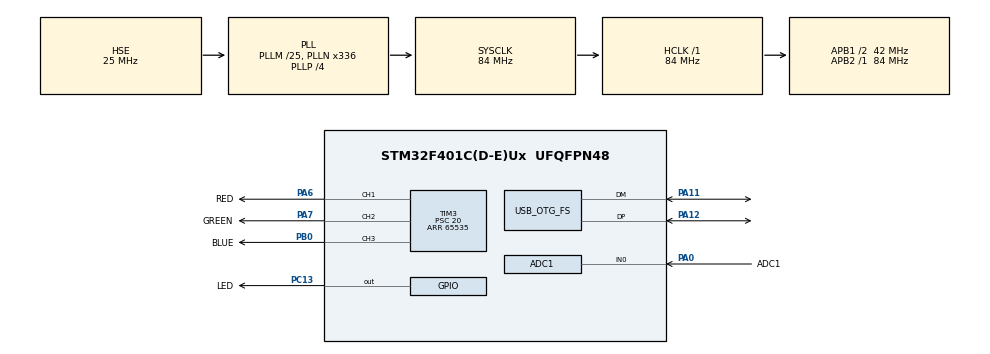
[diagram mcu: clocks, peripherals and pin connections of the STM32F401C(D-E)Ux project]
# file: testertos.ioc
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ADC1.Channel-54\#ChannelRegularConversion=ADC_CHANNEL_0
ADC1.ContinuousConvMode=DISABLE
ADC1.DMAContinuousRequests=ENABLE
ADC1.ExternalTrigConv=ADC_EXTERNALTRIGCONV_T2_TRGO
ADC1.NbrOfConversionFlag=1
ADC1.Rank-54\#ChannelRegularConversion=1
ADC1.SamplingTime-54\#ChannelRegularConversion=ADC_SAMPLETIME_3CYCLES
ADC1.master=1
Dma.ADC1.0.Direction=DMA_PERIPH_TO_MEMORY
Dma.ADC1.0.FIFOMode=DMA_FIFOMODE_DISABLE
Dma.ADC1.0.Instance=DMA2_Stream0
Dma.ADC1.0.MemDataAlignment=DMA_MDATAALIGN_HALFWORD
Dma.ADC1.0.MemInc=DMA_MINC_ENABLE
Dma.ADC1.0.Mode=DMA_CIRCULAR
Dma.ADC1.0.PeriphDataAlignment=DMA_PDATAALIGN_HALFWORD
Dma.ADC1.0.PeriphInc=DMA_PINC_DISABLE
Dma.ADC1.0.Priority=DMA_PRIORITY_LOW
Dma.Request0=ADC1
FREERTOS.Tasks01=defaultTask,24,128,StartDefaultTask,Default,NULL,Dynamic,NULL,NULL
FREERTOS.configENABLE_FPU=1
FREERTOS.configMAX_TASK_NAME_LEN=32
FREERTOS.configTOTAL_HEAP_SIZE=32768
FREERTOS.configUSE_NEWLIB_REENTRANT=1
Mcu.Family=STM32F4
Mcu.Name=STM32F401C(D-E)Ux
Mcu.Package=UFQFPN48
NVIC.DMA2_Stream0_IRQn=true\:5\:0\:false\:false\:true\:true\:false\:true\:true
NVIC.OTG_FS_IRQn=true\:5\:0\:false\:false\:true\:true\:false\:true\:true
NVIC.PriorityGroup=NVIC_PRIORITYGROUP_4
PA0-WKUP.GPIO_Label=ADC1
PA0-WKUP.Signal=ADCx_IN0
PA11.Mode=Device_Only
PA11.Signal=USB_OTG_FS_DM
PA12.Mode=Device_Only
PA12.Signal=USB_OTG_FS_DP
PA13.Mode=Serial_Wire
PA13.Signal=SYS_JTMS-SWDIO
PA14.Mode=Serial_Wire
PA14.Signal=SYS_JTCK-SWCLK
PA6.GPIO_Label=RED
PA6.Signal=S_TIM3_CH1
PA7.GPIO_Label=GREEN
PA7.Signal=S_TIM3_CH2
PB0.GPIO_Label=BLUE
PB0.Signal=S_TIM3_CH3
PC13-ANTI_TAMP.GPIO_Label=LED
PC13-ANTI_TAMP.Signal=GPIO_Output
PH0\ -\ OSC_IN.Mode=HSE-External-Oscillator
PH0\ -\ OSC_IN.Signal=RCC_OSC_IN
PH1\ -\ OSC_OUT.Mode=HSE-External-Oscillator
PH1\ -\ OSC_OUT.Signal=RCC_OSC_OUT
ProjectManager.HeapSize=0x200
ProjectManager.StackSize=0x400
ProjectManager.TargetToolchain=STM32CubeIDE
RCC.48MHZClocksFreq_Value=48000000
RCC.AHBFreq_Value=84000000
RCC.APB1CLKDivider=RCC_HCLK_DIV2
RCC.APB1Freq_Value=42000000
RCC.APB1TimFreq_Value=84000000
RCC.APB2Freq_Value=84000000
RCC.APB2TimFreq_Value=84000000
RCC.CortexFreq_Value=84000000
RCC.HCLKFreq_Value=84000000
RCC.HSE_VALUE=25000000
RCC.HSI_VALUE=16000000
RCC.LSE_VALUE=32768
RCC.PLLM=25
RCC.PLLN=336
RCC.PLLP=RCC_PLLP_DIV4
RCC.PLLQ=7
RCC.SYSCLKFreq_VALUE=84000000
RCC.SYSCLKSource=RCC_SYSCLKSOURCE_PLLCLK
RCC.VCOOutputFreq_Value=336000000
SH.ADCx_IN0.0=ADC1_IN0,IN0
SH.S_TIM3_CH1.0=TIM3_CH1,PWM Generation1 CH1
SH.S_TIM3_CH2.0=TIM3_CH2,PWM Generation2 CH2
SH.S_TIM3_CH3.0=TIM3_CH3,PWM Generation3 CH3
TIM2.AutoReloadPreload=TIM_AUTORELOAD_PRELOAD_ENABLE
TIM2.ClockDivision=TIM_CLOCKDIVISION_DIV1
TIM2.Period=949
TIM2.TIM_MasterOutputTrigger=TIM_TRGO_UPDATE
TIM2.TIM_MasterSlaveMode=TIM_MASTERSLAVEMODE_ENABLE
TIM3.AutoReloadPreload=TIM_AUTORELOAD_PRELOAD_ENABLE
TIM3.Channel-PWM\ Generation1\ CH1=TIM_CHANNEL_1
TIM3.Channel-PWM\ Generation2\ CH2=TIM_CHANNEL_2
TIM3.Channel-PWM\ Generation3\ CH3=TIM_CHANNEL_3
TIM3.ClockDivision=TIM_CLOCKDIVISION_DIV4
TIM3.OCMode_PWM-PWM\ Generation1\ CH1=TIM_OCMODE_PWM1
TIM3.Period=65535
TIM3.Prescaler=20
TIM3.Pulse-PWM\ Generation1\ CH1=50000
TIM3.Pulse-PWM\ Generation2\ CH2=32700
TIM3.Pulse-PWM\ Generation3\ CH3=20000
USB_DEVICE.CLASS_NAME_FS=CDC
USB_DEVICE.VirtualMode-CDC_FS=Cdc
USB_DEVICE.VirtualModeFS=Cdc_FS
USB_OTG_FS.VirtualMode=Device_Only
VP_FREERTOS_VS_CMSIS_V2.Mode=CMSIS_V2
VP_TIM2_VS_ClockSourceINT.Mode=Internal
VP_TIM3_VS_ClockSourceINT.Mode=Internal
VP_USB_DEVICE_VS_USB_DEVICE_CDC_FS.Mode=CDC_FS
board=custom

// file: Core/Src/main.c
/* USER CODE BEGIN Header */
/**
  ******************************************************************************
  * @file           : main.c
  * @brief          : Main program body
  ******************************************************************************
  * @attention
  *
  * Copyright (c) 2022 STMicroelectronics.
  * All rights reserved.
  *
  * This software is licensed under terms that can be found in the LICENSE file
  * in the root directory of this software component.
  * If no LICENSE file comes with this software, it is provided AS-IS.
  *
  ******************************************************************************
  */
/* USER CODE END Header */
#include "main.h"
#include "cmsis_os.h"
#include "usb_device.h"

/* USER CODE BEGIN Includes */
//#include "FreeRTOS.h"
#include "FreeRTOS_CLI.h"
#include "usbd_cdc_if.h"
#include "arm_const_structs.h"
#include "stdio.h"
/* USER CODE END Includes */

/* USER CODE BEGIN PD */

#define MAX_INPUT_LENGTH    256
#define MAX_OUTPUT_LENGTH   256
#define MAX_RGB 254
/* USER CODE END PD */

ADC_HandleTypeDef hadc1;
DMA_HandleTypeDef hdma_adc1;

TIM_HandleTypeDef htim2;
TIM_HandleTypeDef htim3;

/* Definitions for defaultTask */
osThreadId_t defaultTaskHandle;
const osThreadAttr_t defaultTask_attributes = {
  .name = "defaultTask",
  .stack_size = 128 * 4,
  .priority = (osPriority_t) osPriorityNormal,
};

void SystemClock_Config(void);
static void MX_GPIO_Init(void);
static void MX_DMA_Init(void);
static void MX_ADC1_Init(void);
static void MX_TIM2_Init(void);
static void MX_TIM3_Init(void);
void StartDefaultTask(void *argument);

/* USER CODE BEGIN 0 */

typedef struct led_t_ {
	GPIO_TypeDef* port;
	uint16_t pin;
	int timeout;
}led_t;

typedef struct led_rgb_{
	uint8_t brilho;
	uint8_t red;
	uint8_t green;
	uint8_t blue;
}led_rgb;

led_t green_led;
led_rgb rgb;

uint16_t adcBuffer[256];

float ReIm[256*2];
float mod[256];
float fase;

TaskHandle_t task_handle_RGB = NULL;

void task_led(void *param){
	led_t *led = (led_t *)param;
	while(1){
		HAL_GPIO_TogglePin(led->port,led->pin);
		vTaskDelay(led->timeout);
	}
}

void task_adc(void *param){
	HAL_ADC_Start_DMA(&hadc1, (uint32_t *)adcBuffer, 256);
	HAL_TIM_Base_Start(&htim2);
	while(1){
		int k = 0;
		for(int i = 0; i < 256; i++){
			ReIm[k] = (float) adcBuffer[i] * 0.0007326007;
			ReIm[k+1] = 0.0;
			k += 2;
		}

		arm_cfft_f32(&arm_cfft_sR_f32_len256,ReIm,0,1);
		arm_cmplx_mag_f32(ReIm,mod,256);
		arm_scale_f32(mod, 0.0078125, mod, 128); /* vertor, por quem quero multiplicar, vetor final, quantos pontos */

		volatile float fund_phase = atan2f(ReIm[3],ReIm[2])*180/M_PI;
		fase = fund_phase;
		vTaskDelay(5);
	}
}

void task_RGB(void *param){
	uint8_t r,g,b;
	uint8_t ts;
	r = g = b = 1;
	ts = 0;
	vTaskSuspend(NULL);
	while(1){
		//TIM3->CCR1 =
		if(ts == 0){//Crescendo RGB colorido
			if(r < MAX_RGB){
				TIM3->CCR1 = r * 257;
				r++;
			} else if(g < MAX_RGB){
				TIM3->CCR2 = g * 257;
				g++;
			} else if(b < MAX_RGB){
				TIM3->CCR3 = b * 257;
				b++;
			}else{
				ts = 1;
			}
		} else {
			if(r > 1){
				TIM3->CCR1 = r * 257;
				r--;
			} else if( g > 1){
				TIM3->CCR2 = g * 257;
				g--;
			} else if( b > 0){
				TIM3->CCR3 = b * 257;
				b--;
			} else {
				ts = 0;
			}
		}

		vTaskDelay(1);
	}
}

/* USER CODE END 0 */

int main(void)
{

  /* MCU Configuration--------------------------------------------------------*/

  /* Reset of all peripherals, Initializes the Flash interface and the Systick. */
  HAL_Init();

  /* Configure the system clock */
  SystemClock_Config();

  /* Initialize all configured peripherals */
  MX_GPIO_Init();
  MX_DMA_Init();
  MX_ADC1_Init();
  MX_TIM2_Init();
  MX_TIM3_Init();
  /* USER CODE BEGIN 2 */
  HAL_TIM_PWM_Start(&htim3, TIM_CHANNEL_1);
  HAL_TIM_PWM_Start(&htim3, TIM_CHANNEL_2);
  HAL_TIM_PWM_Start(&htim3, TIM_CHANNEL_3);
  /* USER CODE END 2 */

  /* Init scheduler */
  osKernelInitialize();

  /* Create the thread(s) */
  /* creation of defaultTask */
  defaultTaskHandle = osThreadNew(StartDefaultTask, NULL, &defaultTask_attributes);

  /* USER CODE BEGIN RTOS_THREADS */
  /* add threads, ... */
  green_led.timeout = 500;
  green_led.port = LED_GPIO_Port;
  green_led.pin = LED_Pin;
  rgb.red = 200;
  rgb.green = 200;
  rgb.blue = 200;
  rgb.brilho = 200;
  xTaskCreate(task_led,"Tarefa Led",256, &green_led, 1, NULL);
  xTaskCreate(task_adc,"Tarefa ADC",256, NULL, 5, NULL);
  xTaskCreate(task_RGB,"Tarefa RGB",256, NULL, 2, &task_handle_RGB);
  //xTaskCreate(task_usb,"Tarefa USB",256, &green_led, 5, NULL);
  /* USER CODE END RTOS_THREADS */

  /* Start scheduler */
  osKernelStart();

  /* We should never get here as control is now taken by the scheduler */
  /* Infinite loop */
  while (1)
  {

  }
}

void SystemClock_Config(void)
{
  RCC_OscInitTypeDef RCC_OscInitStruct = {0};
  RCC_ClkInitTypeDef RCC_ClkInitStruct = {0};

  /** Configure the main internal regulator output voltage
  */
  __HAL_RCC_PWR_CLK_ENABLE();
  __HAL_PWR_VOLTAGESCALING_CONFIG(PWR_REGULATOR_VOLTAGE_SCALE2);

  /** Initializes the RCC Oscillators according to the specified parameters
  * in the RCC_OscInitTypeDef structure.
  */
  RCC_OscInitStruct.OscillatorType = RCC_OSCILLATORTYPE_HSE;
  RCC_OscInitStruct.HSEState = RCC_HSE_ON;
  RCC_OscInitStruct.PLL.PLLState = RCC_PLL_ON;
  RCC_OscInitStruct.PLL.PLLSource = RCC_PLLSOURCE_HSE;
  RCC_OscInitStruct.PLL.PLLM = 25;
  RCC_OscInitStruct.PLL.PLLN = 336;
  RCC_OscInitStruct.PLL.PLLP = RCC_PLLP_DIV4;
  RCC_OscInitStruct.PLL.PLLQ = 7;
  if (HAL_RCC_OscConfig(&RCC_OscInitStruct) != HAL_OK)
  {
    Error_Handler();
  }

  /** Initializes the CPU, AHB and APB buses clocks
  */
  RCC_ClkInitStruct.ClockType = RCC_CLOCKTYPE_HCLK|RCC_CLOCKTYPE_SYSCLK
                              |RCC_CLOCKTYPE_PCLK1|RCC_CLOCKTYPE_PCLK2;
  RCC_ClkInitStruct.SYSCLKSource = RCC_SYSCLKSOURCE_PLLCLK;
  RCC_ClkInitStruct.AHBCLKDivider = RCC_SYSCLK_DIV1;
  RCC_ClkInitStruct.APB1CLKDivider = RCC_HCLK_DIV2;
  RCC_ClkInitStruct.APB2CLKDivider = RCC_HCLK_DIV1;

  if (HAL_RCC_ClockConfig(&RCC_ClkInitStruct, FLASH_LATENCY_2) != HAL_OK)
  {
    Error_Handler();
  }
}

static void MX_ADC1_Init(void)
{

  ADC_ChannelConfTypeDef sConfig = {0};

  /** Configure the global features of the ADC (Clock, Resolution, Data Alignment and number of conversion)
  */
  hadc1.Instance = ADC1;
  hadc1.Init.ClockPrescaler = ADC_CLOCK_SYNC_PCLK_DIV4;
  hadc1.Init.Resolution = ADC_RESOLUTION_12B;
  hadc1.Init.ScanConvMode = DISABLE;
  hadc1.Init.ContinuousConvMode = DISABLE;
  hadc1.Init.DiscontinuousConvMode = DISABLE;
  hadc1.Init.ExternalTrigConvEdge = ADC_EXTERNALTRIGCONVEDGE_RISING;
  hadc1.Init.ExternalTrigConv = ADC_EXTERNALTRIGCONV_T2_TRGO;
  hadc1.Init.DataAlign = ADC_DATAALIGN_RIGHT;
  hadc1.Init.NbrOfConversion = 1;
  hadc1.Init.DMAContinuousRequests = ENABLE;
  hadc1.Init.EOCSelection = ADC_EOC_SINGLE_CONV;
  if (HAL_ADC_Init(&hadc1) != HAL_OK)
  {
    Error_Handler();
  }

  /** Configure for the selected ADC regular channel its corresponding rank in the sequencer and its sample time.
  */
  sConfig.Channel = ADC_CHANNEL_0;
  sConfig.Rank = 1;
  sConfig.SamplingTime = ADC_SAMPLETIME_3CYCLES;
  if (HAL_ADC_ConfigChannel(&hadc1, &sConfig) != HAL_OK)
  {
    Error_Handler();
  }

}

static void MX_TIM2_Init(void)
{

  TIM_ClockConfigTypeDef sClockSourceConfig = {0};
  TIM_MasterConfigTypeDef sMasterConfig = {0};

  htim2.Instance = TIM2;
  htim2.Init.Prescaler = 0;
  htim2.Init.CounterMode = TIM_COUNTERMODE_UP;
  htim2.Init.Period = 949;
  htim2.Init.ClockDivision = TIM_CLOCKDIVISION_DIV1;
  htim2.Init.AutoReloadPreload = TIM_AUTORELOAD_PRELOAD_ENABLE;
  if (HAL_TIM_Base_Init(&htim2) != HAL_OK)
  {
    Error_Handler();
  }
  sClockSourceConfig.ClockSource = TIM_CLOCKSOURCE_INTERNAL;
  if (HAL_TIM_ConfigClockSource(&htim2, &sClockSourceConfig) != HAL_OK)
  {
    Error_Handler();
  }
  sMasterConfig.MasterOutputTrigger = TIM_TRGO_UPDATE;
  sMasterConfig.MasterSlaveMode = TIM_MASTERSLAVEMODE_ENABLE;
  if (HAL_TIMEx_MasterConfigSynchronization(&htim2, &sMasterConfig) != HAL_OK)
  {
    Error_Handler();
  }

}

static void MX_TIM3_Init(void)
{

  TIM_ClockConfigTypeDef sClockSourceConfig = {0};
  TIM_MasterConfigTypeDef sMasterConfig = {0};
  TIM_OC_InitTypeDef sConfigOC = {0};

  htim3.Instance = TIM3;
  htim3.Init.Prescaler = 20;
  htim3.Init.CounterMode = TIM_COUNTERMODE_UP;
  htim3.Init.Period = 65535;
  htim3.Init.ClockDivision = TIM_CLOCKDIVISION_DIV4;
  htim3.Init.AutoReloadPreload = TIM_AUTORELOAD_PRELOAD_ENABLE;
  if (HAL_TIM_Base_Init(&htim3) != HAL_OK)
  {
    Error_Handler();
  }
  sClockSourceConfig.ClockSource = TIM_CLOCKSOURCE_INTERNAL;
  if (HAL_TIM_ConfigClockSource(&htim3, &sClockSourceConfig) != HAL_OK)
  {
    Error_Handler();
  }
  if (HAL_TIM_PWM_Init(&htim3) != HAL_OK)
  {
    Error_Handler();
  }
  sMasterConfig.MasterOutputTrigger = TIM_TRGO_RESET;
  sMasterConfig.MasterSlaveMode = TIM_MASTERSLAVEMODE_DISABLE;
  if (HAL_TIMEx_MasterConfigSynchronization(&htim3, &sMasterConfig) != HAL_OK)
  {
    Error_Handler();
  }
  sConfigOC.OCMode = TIM_OCMODE_PWM1;
  sConfigOC.Pulse = 50000;
  sConfigOC.OCPolarity = TIM_OCPOLARITY_HIGH;
  sConfigOC.OCFastMode = TIM_OCFAST_DISABLE;
  if (HAL_TIM_PWM_ConfigChannel(&htim3, &sConfigOC, TIM_CHANNEL_1) != HAL_OK)
  {
    Error_Handler();
  }
  sConfigOC.Pulse = 32700;
  if (HAL_TIM_PWM_ConfigChannel(&htim3, &sConfigOC, TIM_CHANNEL_2) != HAL_OK)
  {
    Error_Handler();
  }
  sConfigOC.Pulse = 20000;
  if (HAL_TIM_PWM_ConfigChannel(&htim3, &sConfigOC, TIM_CHANNEL_3) != HAL_OK)
  {
    Error_Handler();
  }
  HAL_TIM_MspPostInit(&htim3);

}

static void MX_DMA_Init(void)
{

  /* DMA controller clock enable */
  __HAL_RCC_DMA2_CLK_ENABLE();

  /* DMA interrupt init */
  /* DMA2_Stream0_IRQn interrupt configuration */
  HAL_NVIC_SetPriority(DMA2_Stream0_IRQn, 5, 0);
  HAL_NVIC_EnableIRQ(DMA2_Stream0_IRQn);

}

static void MX_GPIO_Init(void)
{
  GPIO_InitTypeDef GPIO_InitStruct = {0};

  /* GPIO Ports Clock Enable */
  __HAL_RCC_GPIOC_CLK_ENABLE();
  __HAL_RCC_GPIOH_CLK_ENABLE();
  __HAL_RCC_GPIOA_CLK_ENABLE();
  __HAL_RCC_GPIOB_CLK_ENABLE();

  /*Configure GPIO pin Output Level */
  HAL_GPIO_WritePin(LED_GPIO_Port, LED_Pin, GPIO_PIN_RESET);

  /*Configure GPIO pin : LED_Pin */
  GPIO_InitStruct.Pin = LED_Pin;
  GPIO_InitStruct.Mode = GPIO_MODE_OUTPUT_PP;
  GPIO_InitStruct.Pull = GPIO_NOPULL;
  GPIO_InitStruct.Speed = GPIO_SPEED_FREQ_LOW;
  HAL_GPIO_Init(LED_GPIO_Port, &GPIO_InitStruct);

}

/* USER CODE BEGIN 4 */
//uint8_t buffer[128];
uint32_t len;

uint8_t read_usb_cdc(char *buffer, int buf_len, TickType_t timeout);

static BaseType_t prvTaskStatsCommand( char *pcWriteBuffer, size_t xWriteBufferLen, const char *pcCommandString ){

        /* For simplicity, this function assumes the output buffer is large enough
        to hold all the text generated by executing the vTaskList() API function,
        so the xWriteBufferLen parameter is not used. */
        char *head = "Name\t\t\t\tState  Priority  Stack  Number\n\r";
        ( void ) xWriteBufferLen;

        /* pcWriteBuffer is used directly as the vTaskList() parameter, so the table
        generated by executing vTaskList() is written directly into the output
        buffer. */
        strcpy(pcWriteBuffer, head);
        vTaskList( pcWriteBuffer + strlen(head));

        /* The entire table was written directly to the output buffer.  Execution
        of this command is complete, so return pdFALSE. */
        return pdFALSE;
}

static BaseType_t prvTaskStatsTexto( char *pcWriteBuffer, size_t xWriteBufferLen, const char *pcCommandString ){

	strcpy(pcWriteBuffer,(char*)"Este e um texto teste\r\n");
	return pdFALSE;
}

static BaseType_t prvTaskStatsRGB( char *pcWriteBuffer, size_t xWriteBufferLen, const char *pcCommandString ){
	const char *pcParameter1;
	const char *pcParameterAux;
	BaseType_t xParameter1StringLength;
	char comando1[7];
	int16_t brilho;
	int16_t red,green,blue;
	comando1[0] = '\0';
	pcParameter1 = FreeRTOS_CLIGetParameter
	                        (
	                          /* The command string itself. */
	                          pcCommandString,
	                          /* Return the first parameter. */
	                          1,
	                          /* Store the parameter string length. */
	                          &xParameter1StringLength
	                        );

	strncpy(comando1,pcParameter1,xParameter1StringLength);
	comando1[xParameter1StringLength] = '\0';
	if(strcmp(comando1,(const char *)"on") == (int)0){
//		Habilitar o led RGB
//		Basicamente iniciar o TIM3
		HAL_TIM_Base_Start(&htim3);
		strcpy(pcWriteBuffer,"Led Ligado \n\r");
	} else if(strcmp(comando1,(const char *)"off") == 0){
//		Desabilitar o led RGB
//		Basicamente parar o TIM3
		HAL_TIM_Base_Stop(&htim3);
		vTaskSuspend(task_handle_RGB);
		rgb.brilho=0;
		strcpy(pcWriteBuffer,"Led Desligado \n\r");
	} else if(strcmp(comando1,(const char *)"brilho") == 0){
//		calculo do brilho do led RGB

		pcParameterAux = FreeRTOS_CLIGetParameter
		                        (
		                          /* The command string itself. */
		                          pcCommandString,
		                          /* Return the first parameter. */
		                          2,
		                          /* Store the parameter string length. */
		                          &xParameter1StringLength
		                        );
		strncpy(comando1,pcParameterAux,xParameter1StringLength);
		brilho = atoi(comando1);
		if(brilho >= 0 && brilho < 256){
			rgb.brilho = brilho;
			strcpy(pcWriteBuffer,"Brilho redefinido \n\r");
		} else {
			strcpy(pcWriteBuffer,"Valor invalido \n\r");
		}

	} else if(strcmp(comando1,(const char *)"color") == 0){
		pcParameterAux = FreeRTOS_CLIGetParameter
		                        (
		                          /* The command string itself. */
		                          pcCommandString,
		                          /* Return the first parameter. */
		                          2,
		                          /* Store the parameter string length. */
		                          &xParameter1StringLength
		                        );
		strncpy(comando1,pcParameterAux,xParameter1StringLength);
		red = atoi(comando1);
		pcParameterAux = FreeRTOS_CLIGetParameter
		                        (
		                          /* The command string itself. */
		                          pcCommandString,
		                          /* Return the first parameter. */
		                          3,
		                          /* Store the parameter string length. */
		                          &xParameter1StringLength
		                        );
		strncpy(comando1,pcParameterAux,xParameter1StringLength);
		green = atoi(comando1);
		pcParameterAux = FreeRTOS_CLIGetParameter
		                        (
		                          /* The command string itself. */
		                          pcCommandString,
		                          /* Return the first parameter. */
		                          4,
		                          /* Store the parameter string length. */
		                          &xParameter1StringLength
		                        );
		strncpy(comando1,pcParameterAux,xParameter1StringLength);
		blue = atoi(comando1);
		if(blue >= 0 && blue < 256 && red >= 0 && red < 256 && blue >=0 && blue < 256){
			rgb.blue = blue;
			rgb.red = red;
			rgb.green = green;
			strcpy(pcWriteBuffer,"Cor redefinido \n\r");
		} else {
			strcpy(pcWriteBuffer,"Valor invalido \n\r");
		}
	} else if(strcmp(comando1,(const char *)"rgb") == 0){

		HAL_TIM_Base_Start(&htim3);
		vTaskResume(task_handle_RGB);
		rgb.blue = 0;
		rgb.red = 0;
		rgb.green = 0;
	}
//	strcpy(pcWriteBuffer,valor);

	TIM3->CCR1 = rgb.brilho*rgb.red;
	TIM3->CCR2 = rgb.brilho*rgb.green;
	TIM3->CCR3 = rgb.brilho*rgb.blue;
	return pdFALSE;
}

static BaseType_t prvTaskStatsHarmonica( char *pcWriteBuffer, size_t xWriteBufferLen, const char *pcCommandString ){
	const char *pcParameter1;
	const char *pcParameterAux;
	BaseType_t xParameter1StringLength;
	char comando1[5];
	char restorno[6];
	uint8_t valor1,valor2;
	comando1[0] = '\0';
	pcParameter1 = FreeRTOS_CLIGetParameter
	                        (
	                          /* The command string itself. */
	                          pcCommandString,
	                          /* Return the first parameter. */
	                          1,
	                          /* Store the parameter string length. */
	                          &xParameter1StringLength
	                        );

	strncpy(comando1,pcParameter1,xParameter1StringLength);
	comando1[xParameter1StringLength] = '\0';
	if(strcmp(comando1,(const char *)"cc") == (int)0){
		strcpy(pcWriteBuffer,(char*)"Este e o nivel CC do sinal: ");
		float auxf;
		auxf = (mod[0]*0.5);
		valor1 = (uint8_t) auxf;
		valor2 = (uint8_t) ((auxf-valor1)*10);
		restorno[0] = 48+valor1;
		restorno[1] = '.';
		restorno[2] = 48+valor2;
		valor2 = (uint8_t) ((((auxf-valor1)*10)-valor2)*10 );
		restorno[3] = 48+valor2;
		restorno[4] = '\0';
		strcpy(pcWriteBuffer + strlen(pcWriteBuffer),(char*)restorno);
	} else {
		uint8_t harm;
		harm = atoi(comando1);
		if(harm > 0 && harm < 255){
			uint8_t i, qnt;
			strcpy(pcWriteBuffer,(char*)"Este e a hamornica iniciada com ");
			strcpy(pcWriteBuffer + strlen(pcWriteBuffer),comando1);
			strcpy(pcWriteBuffer + strlen(pcWriteBuffer),(char*)": ");
			comando1[0] = '\0';
			pcParameterAux = FreeRTOS_CLIGetParameter
				                        (
				                          /* The command string itself. */
				                          pcCommandString,
				                          /* Return the first parameter. */
				                          2,
				                          /* Store the parameter string length. */
				                          &xParameter1StringLength
				                        );

			strncpy(comando1,pcParameterAux,xParameter1StringLength);
			comando1[xParameter1StringLength] = '\0';
			qnt = atoi(pcParameterAux);
			if(qnt > 0 && qnt < 128){
				float auxf;
				for(i = harm; i < (harm+qnt);i++){
					auxf = (mod[i]*0.5);
					valor1 = (uint8_t) auxf;
					valor2 = (uint8_t) ((auxf-valor1)*10);
					restorno[0] = 48+valor1;
					restorno[1] = '.';
					restorno[2] = 48+valor2;
					valor2 = (uint8_t) ((((auxf-valor1)*10)-valor2)*10 );
					restorno[3] = 48+valor2;
					if(i < (harm+qnt-1)){
						restorno[4] = ',';
						restorno[5] = ' ';
					} else {
						restorno[4] = '\0';
					}
					strcpy(pcWriteBuffer + strlen(pcWriteBuffer),(char*)restorno);
				}
			}
		}
	}
	/*
	strcpy(pcWriteBuffer,(char*)"Este e Harmonica \r\n");
	char valor[15];
	int positivo = (int) fase*100;
	itoa(positivo,valor,10);
	strcpy(pcWriteBuffer + strlen(pcWriteBuffer),comando1);
	*/
	return pdFALSE;
}

static const CLI_Command_Definition_t xTasksCommand =
{
    "tasks",
	"\r\ntasks:\r\n Lists all the installed tasks\r\n\r\n",
	prvTaskStatsCommand,
    0
};

static const CLI_Command_Definition_t xTasksTexto =
{
    "texto",
	"\r\ntexto:\r\n Print Text Teste\r\n\r\n",
	prvTaskStatsTexto,
    0
};

static const CLI_Command_Definition_t xTasksRGB =
{
    "rgb",
	"\r\nrgb:\r\n rgb (on/off) (para desligar ou ligar)\n\r"
	" rgb brilho (0-255) (para alterar intensidade do brilho)\r\n"
	" rgb color (0-255) (0-255) (0-255) (para alterar a proporcao red gree blue)\r\n\r\n"
	" rgb rgb (para ativar RGB automatico)\r\n\r\n",
	prvTaskStatsRGB,
    -1
};

static const CLI_Command_Definition_t xTasksHarmonica =
{
    "harmonica",
	"\r\nharmonica:\r\n fundamental, quantidade sequencial\r\n\r\n"
	"\r\nharmonica:\r\n cc, primeira fundamental \r\n\r\n",
	prvTaskStatsHarmonica,
    -1
};

/* USER CODE END 4 */

void StartDefaultTask(void *argument)
{
  /* init code for USB_DEVICE */
  MX_USB_DEVICE_Init();
  /* USER CODE BEGIN 5 */
  init_usb_rtos_obj();

//  static uint8_t pcOutputString[ MAX_OUTPUT_LENGTH ], pcInputString[ MAX_INPUT_LENGTH ];

  FreeRTOS_CLIRegisterCommand( &xTasksCommand );
  FreeRTOS_CLIRegisterCommand( &xTasksTexto );
  FreeRTOS_CLIRegisterCommand( &xTasksRGB );
  FreeRTOS_CLIRegisterCommand( &xTasksHarmonica );

//  BaseType_t xMoreDataToFollow;
//  uint8_t cRxedChar, buffer[256], cInputIndex = 0;

  char data[128];
  /* Infinite loop */
  for(;;)
  {
	  queue_print(data,1);
  }
  /* USER CODE END 5 */
}

void Error_Handler(void)
{
  __disable_irq();
  while (1)
  {
  }
}
